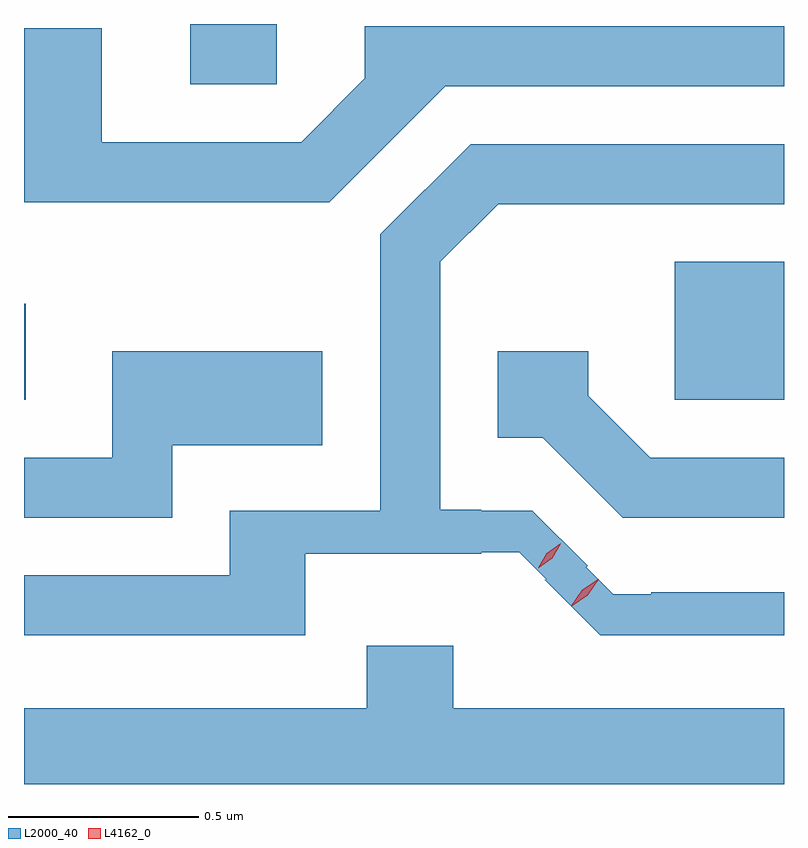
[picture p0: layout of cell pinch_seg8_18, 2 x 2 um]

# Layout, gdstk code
import gdstk
lib = gdstk.Library(unit=1e-6, precision=1e-09)
def R(c, l, rs):  # rectangles x0, y0, x1, y1
    for r in rs: c.add(gdstk.rectangle(r[:2], r[2:], *l))
def P(c, l, *ps):  # polygons
    for p in ps: c.add(gdstk.Polygon(p, *l))
L2000_40 = (2000, 40)
L4162_0 = (4162, 0)

pinch_seg8_18 = lib.new_cell('pinch_seg8_18')
R(pinch_seg8_18, L2000_40, [(1713.344,1930.736,1713.349,1930.989), (1715.056,1930.736,1715.344,1931.099), (1713.781,1931.566,1714.009,1931.725)])
P(pinch_seg8_18, L2000_40, [(1714.452,1931.561),(1715.344,1931.561),(1715.344,1931.719),(1714.241,1931.719),(1714.241,1931.582),(1714.074,1931.414),(1713.549,1931.414),(1713.549,1931.714),(1713.344,1931.714),(1713.344,1931.256),(1714.147,1931.256)],
  [(1714.084,1930.331),(1714.547,1930.331),(1714.547,1930.335),(1714.647,1930.335),(1714.718,1930.264),(1714.715,1930.262),(1714.861,1930.116),(1715.344,1930.116),(1715.344,1930.229),(1714.995,1930.229),(1714.995,1930.225),(1714.895,1930.225),(1714.824,1930.296),(1714.827,1930.299),(1714.682,1930.444),(1714.547,1930.444),(1714.547,1930.447),(1714.439,1930.447),(1714.439,1931.099),(1714.592,1931.251),(1715.344,1931.251),(1715.344,1931.409),(1714.519,1931.409),(1714.281,1931.172),(1714.281,1930.444),(1713.886,1930.444),(1713.886,1930.274),(1713.344,1930.274),(1713.344,1930.116),(1714.084,1930.116)],
  [(1713.734,1930.616),(1714.129,1930.616),(1714.129,1930.864),(1713.576,1930.864),(1713.576,1930.584),(1713.344,1930.584),(1713.344,1930.426),(1713.734,1930.426)],
  [(1715.344,1930.584),(1714.992,1930.584),(1714.829,1930.747),(1714.829,1930.864),(1714.591,1930.864),(1714.591,1930.636),(1714.709,1930.636),(1714.919,1930.426),(1715.344,1930.426)],
  [(1715.344,1929.924),(1714.474,1929.924),(1714.474,1930.089),(1714.246,1930.089),(1714.246,1929.924),(1713.344,1929.924),(1713.344,1929.725),(1715.344,1929.725)])
P(pinch_seg8_18, L4162_0, [(1714.784,1930.193),(1714.784,1930.194),(1714.813,1930.236),(1714.855,1930.264),(1714.856,1930.264),(1714.856,1930.264),(1714.827,1930.222),(1714.785,1930.193)],
  [(1714.697,1930.293),(1714.697,1930.294),(1714.72,1930.332),(1714.757,1930.358),(1714.757,1930.358),(1714.757,1930.357),(1714.734,1930.319),(1714.697,1930.293)])

lib.write_gds('pinch_seg8_18.gds')
